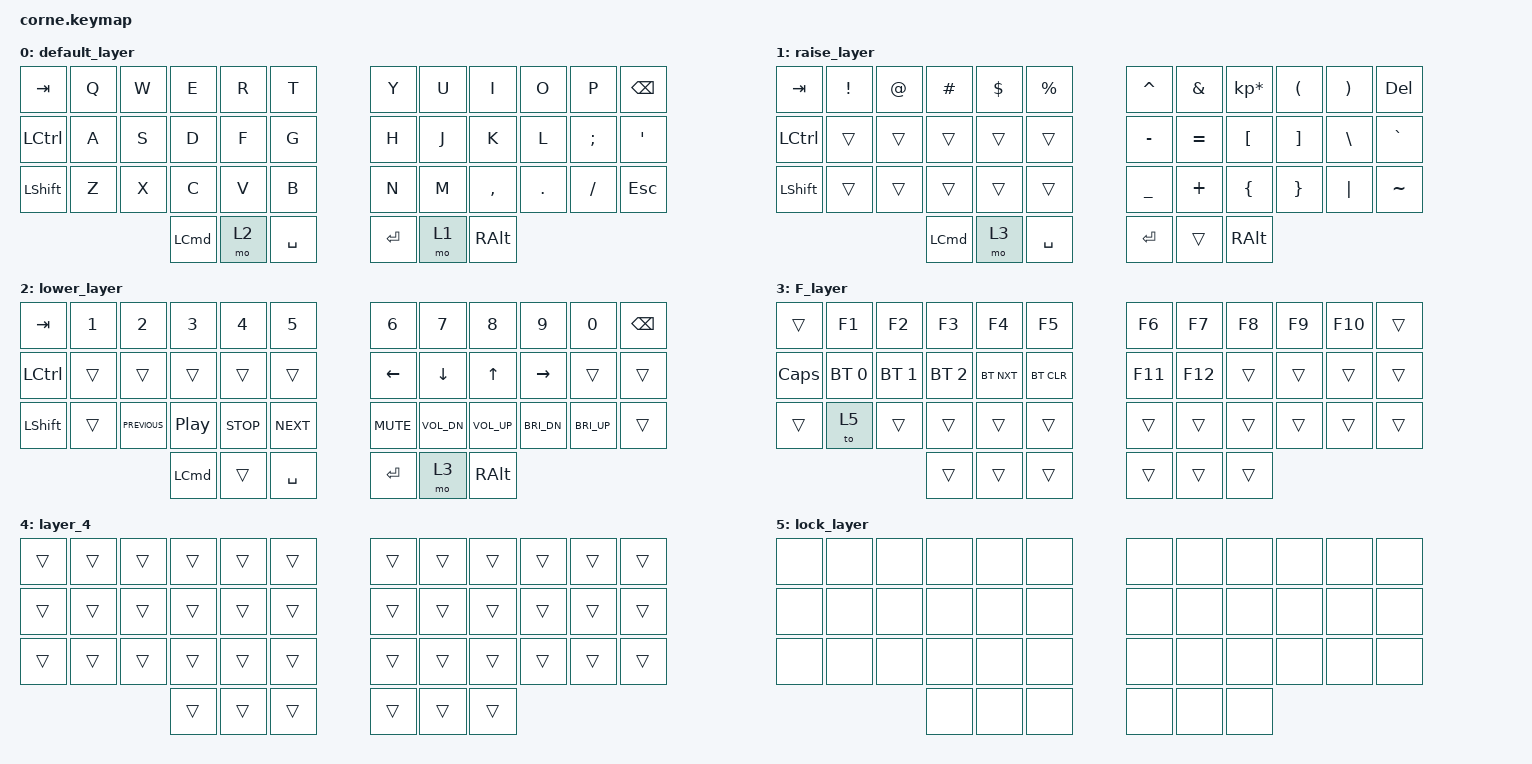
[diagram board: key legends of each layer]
/*
 * Copyright (c) 2020 The ZMK Contributors
 *
 * SPDX-License-Identifier: MIT
 */

#include <behaviors.dtsi>
#include <dt-bindings/zmk/bt.h>
#include <dt-bindings/zmk/keys.h>

/ {
    combos {
        compatible = "zmk,combos";

        unlock {
            bindings = <&to 0>;
            key-positions = <5 0 37>;
            layers = <5>;
        };

        bt_reset {
            bindings = <&bt BT_CLR>;
            key-positions = <13 17 37>;
            layers = <3>;
            timeout-ms = <500>;
        };
    };

    keymap {
        compatible = "zmk,keymap";

        default_layer {
            // -----------------------------------------------------------------------------------------
            // |  TAB |  Q  |  W  |  E  |  R  |  T  |   |  Y  |  U   |  I  |  O  |  P  | BKSP |
            // | CTRL |  A  |  S  |  D  |  F  |  G  |   |  H  |  J   |  K  |  L  |  ;  |  '   |
            // | SHFT |  Z  |  X  |  C  |  V  |  B  |   |  N  |  M   |  ,  |  .  |  /  | ESC  |
            //                    | GUI | LWR | SPC |   | ENT | RSE  | ALT |

            bindings = <
&kp TAB    &kp Q  &kp W  &kp E     &kp R  &kp T        &kp Y    &kp U  &kp I      &kp O    &kp P     &kp BSPC
&kp LCTRL  &kp A  &kp S  &kp D     &kp F  &kp G        &kp H    &kp J  &kp K      &kp L    &kp SEMI  &kp SQT
&kp LSHFT  &kp Z  &kp X  &kp C     &kp V  &kp B        &kp N    &kp M  &kp COMMA  &kp DOT  &kp FSLH  &kp ESC
                         &kp LCMD  &mo 2  &kp SPACE    &kp RET  &mo 1  &kp RALT
            >;
        };

        raise_layer {
            // -----------------------------------------------------------------------------------------
            // |  TAB |  !  |  @  |  #  |  $  |  %  |   |  ^  |  &  |  *  |  (  |  )  | BKSP |
            // | CTRL |     |     |     |     |     |   |  -  |  =  |  [  |  ]  |  \  |  `   |
            // | SHFT |     |     |     |     |     |   |  _  |  +  |  {  |  }  | "|" |  ~   |
            //                    | GUI |     | SPC |   | ENT |     | ALT |

            bindings = <
&kp TAB    &kp EXCL  &kp AT  &kp HASH  &kp DLLR  &kp PRCNT    &kp CARET  &kp AMPS   &kp KP_MULTIPLY  &kp LPAR  &kp RPAR  &kp DELETE
&kp LCTRL  &trans    &trans  &trans    &trans    &trans       &kp MINUS  &kp EQUAL  &kp LBKT         &kp RBKT  &kp BSLH  &kp GRAVE
&kp LSHFT  &trans    &trans  &trans    &trans    &trans       &kp UNDER  &kp PLUS   &kp LBRC         &kp RBRC  &kp PIPE  &kp TILDE
                             &kp LCMD  &mo 3     &kp SPACE    &kp RET    &trans     &kp RALT
            >;
        };

        lower_layer {
            // -----------------------------------------------------------------------------------------
            // |  TAB |  1  |  2  |  3  |  4  |  5  |   |  6  |  7  |  8  |  9  |  0  | BKSP |
            // | BTCLR| BT1 | BT2 | BT3 | BT4 | BT5 |   | LFT | DWN |  UP | RGT |     |      |
            // | SHFT |     |     |     |     |     |   |     |     |     |     |     |      |
            //                    | GUI |     | SPC |   | ENT |     | ALT |

            bindings = <
&kp TAB    &kp N1  &kp N2          &kp N3            &kp N4      &kp N5        &kp N6      &kp N7        &kp N8        &kp N9        &kp N0        &kp BSPC
&kp LCTRL  &trans  &trans          &trans            &trans      &trans        &kp LEFT    &kp DOWN      &kp UP        &kp RIGHT     &trans        &trans
&kp LSHFT  &trans  &kp C_PREVIOUS  &kp C_PLAY_PAUSE  &kp C_STOP  &kp C_NEXT    &kp K_MUTE  &kp C_VOL_DN  &kp C_VOL_UP  &kp C_BRI_DN  &kp C_BRI_UP  &trans
                                   &kp LCMD          &trans      &kp SPACE     &kp RET     &mo 3         &kp RALT
            >;
        };

        F_layer {
            bindings = <
&trans        &kp F1        &kp F2        &kp F3        &kp F4      &kp F5        &kp F6   &kp F7   &kp F8  &kp F9  &kp F10  &trans
&kp CAPSLOCK  &bt BT_SEL 0  &bt BT_SEL 1  &bt BT_SEL 2  &bt BT_NXT  &bt BT_CLR    &kp F11  &kp F12  &trans  &trans  &trans   &trans
&trans        &to 5         &trans        &trans        &trans      &trans        &trans   &trans   &trans  &trans  &trans   &trans
                                          &trans        &trans      &trans        &trans   &trans   &trans
            >;
        };

        layer_4 {
            bindings = <
&trans  &trans  &trans  &trans  &trans  &trans    &trans  &trans  &trans  &trans  &trans  &trans
&trans  &trans  &trans  &trans  &trans  &trans    &trans  &trans  &trans  &trans  &trans  &trans
&trans  &trans  &trans  &trans  &trans  &trans    &trans  &trans  &trans  &trans  &trans  &trans
                        &trans  &trans  &trans    &trans  &trans  &trans
            >;
        };

        lock_layer {
            bindings = <
&none  &none  &none  &none  &none  &none    &none  &none  &none  &none  &none  &none
&none  &none  &none  &none  &none  &none    &none  &none  &none  &none  &none  &none
&none  &none  &none  &none  &none  &none    &none  &none  &none  &none  &none  &none
                     &none  &none  &none    &none  &none  &none
            >;
        };
    };
};
